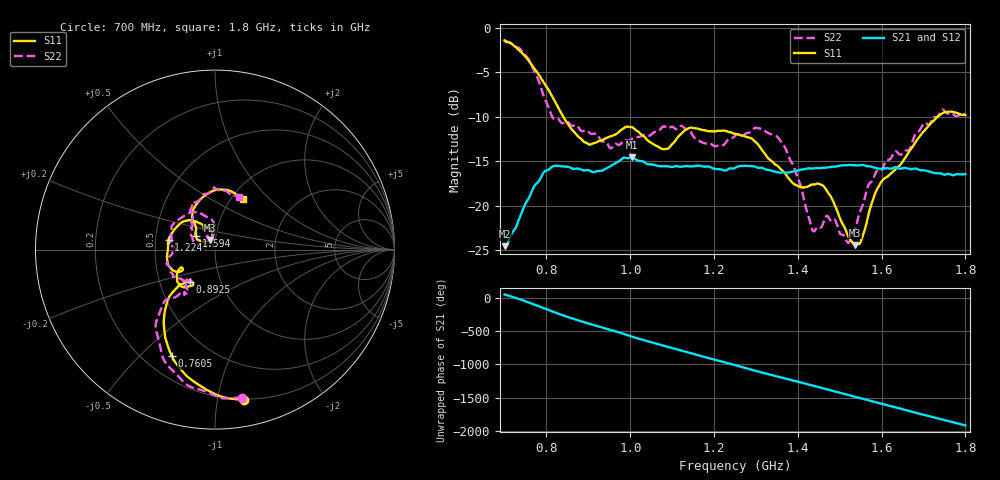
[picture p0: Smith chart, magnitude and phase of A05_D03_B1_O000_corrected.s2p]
! Created with skrf 1.9.0 (http://scikit-rf.org).
# Hz S RI R 50.0
!freq ReS11 ImS11 ReS21 ImS21 ReS12 ImS12 ReS22 ImS22
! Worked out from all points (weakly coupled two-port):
!   1601 points, 700 MHz to 1.8 GHz, reference 50 ohm
!   highest |S21| = -14.55 dB at 1.003 GHz (marker M1); lowest = -24.6 dB at 701.4 MHz (marker M2)
!   lowest |S11| = -24.4 dB at 1.537 GHz (marker M3), VSWR 1.13, Z = 47.2 + j5.11 ohm
!   |S11| at or under -10 dB: 839.9 MHz to 1.734 GHz (893.8 MHz wide, 69.5 % of centre)
!   |S22| runs from -24.2 to -1.5 dB; largest |S21 - S12| = 0.0035
!   S11 on the Smith chart (normalised r, x): 700 MHz: 0.20, -1.19; 760.5 MHz: 0.31, -0.63; 892.5 MHz: 0.71, -0.27; 1.224 GHz: 0.59, +0.07; 1.594 GHz: 0.80, +0.12; 1.8 GHz: 1.12, +0.71
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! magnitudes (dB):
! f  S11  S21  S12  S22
! 700 MHz  -1.4  -24.6  -24.3  -1.5
! 701.4 MHz  -1.4  -24.6  -24.2  -1.5
! 760.5 MHz  -3.9  -18.9  -18.8  -3.8
! 814.8 MHz  -7.8  -15.6  -15.6  -10.1
! 883.6 MHz  -12.5  -16.0  -15.9  -11.6
! 892.5 MHz  -12.9  -16.0  -16.1  -11.5
! 953 MHz  -12.2  -15.6  -15.5  -13.5
! 1.003 GHz  -11.2  -14.6  -14.7  -12.5
! 1.067 GHz  -13.4  -15.5  -15.5  -11.6
! 1.142 GHz  -11.2  -15.6  -15.6  -11.6
! 1.224 GHz  -11.5  -16.0  -16.0  -13.1
! 1.25 GHz  -11.9  -15.8  -15.7  -12.1
! 1.355 GHz  -15.7  -16.3  -16.2  -12.5
! 1.394 GHz  -17.7  -16.1  -16.1  -16.1
! 1.434 GHz  -17.6  -15.8  -15.8  -22.6
! 1.466 GHz  -18.1  -15.7  -15.7  -21.3
! 1.52 GHz  -23.4  -15.4  -15.4  -24.2
! 1.537 GHz  -24.4  -15.5  -15.5  -22.7
! 1.594 GHz  -17.7  -15.8  -15.8  -16.1
! 1.617 GHz  -16.6  -15.8  -15.8  -14.8
! 1.737 GHz  -9.9  -16.4  -16.4  -9.7
! 1.8 GHz  -9.8  -16.4  -16.4  -9.8
